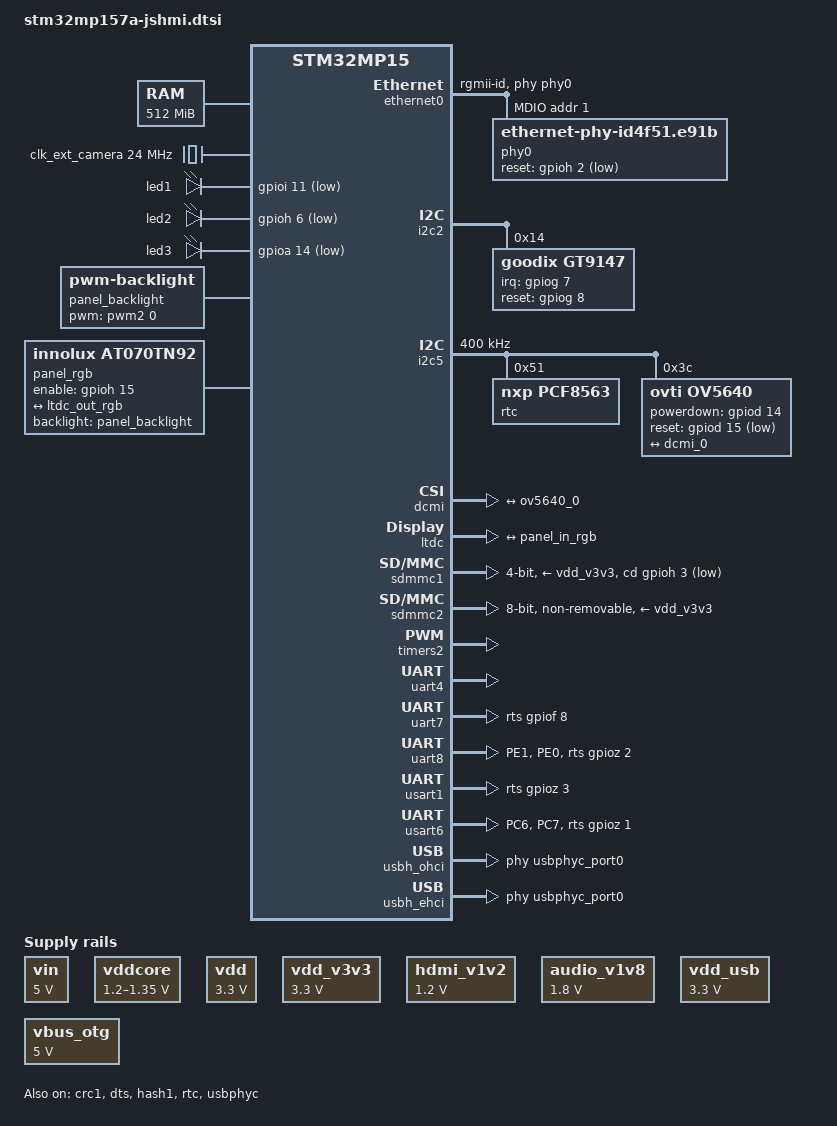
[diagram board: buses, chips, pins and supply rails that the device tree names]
// SPDX-License-Identifier: (GPL-2.0+ OR BSD-3-Clause)
/*
 * Copyright (C) STMicroelectronics 2019 - All Rights Reserved
 * Author: Alexandre Torgue <alexandre.torgue@st.com> for STMicroelectronics.
 */

#include "stm32mp15-m4-srm.dtsi"
#include "stm32mp15-m4-srm-pinctrl.dtsi"
#include <dt-bindings/gpio/gpio.h>

/ {
	aliases {
		ethernet0 = &ethernet0;
		serial0 = &uart4;
		serial3 = &usart1;
		serial1 = &usart2;
		serial2 = &usart3;
		serial5 = &usart6;
		serial6 = &uart7;
		serial7 = &uart8;
	};

	memory@c0000000 {
		device_type = "memory";
		reg = <0xc0000000 0x20000000>;
	};

	clocks {
		clk_ext_camera: clk-ext-camera {
			#clock-cells = <0>;
			compatible = "fixed-clock";
			clock-frequency = <24000000>;
		};
	};

	reserved-memory {
		#address-cells = <1>;
		#size-cells = <1>;
		ranges;

		mcuram2: mcuram2@10000000 {
			compatible = "shared-dma-pool";
			reg = <0x10000000 0x40000>;
			no-map;
		};

		vdev0vring0: vdev0vring0@10040000 {
			compatible = "shared-dma-pool";
			reg = <0x10040000 0x1000>;
			no-map;
		};

		vdev0vring1: vdev0vring1@10041000 {
			compatible = "shared-dma-pool";
			reg = <0x10041000 0x1000>;
			no-map;
		};

		vdev0buffer: vdev0buffer@10042000 {
			compatible = "shared-dma-pool";
			reg = <0x10042000 0x4000>;
			no-map;
		};

		mcu_rsc_table: mcu_rsc_table@10048000 {
			compatible = "shared-dma-pool";
			reg = <0x10048000 0x8000>;
			no-map;
		};

		mcuram: mcuram@30000000 {
			compatible = "shared-dma-pool";
			reg = <0x30000000 0x40000>;
			no-map;
		};

		retram: retram@38000000 {
			compatible = "shared-dma-pool";
			reg = <0x38000000 0x10000>;
			no-map;
		};

		gpu_reserved: gpu@d4000000 {
			reg = <0xd4000000 0x4000000>;
			no-map;
		};

		optee@de000000 {
			reg = <0xde000000 0x2000000>;
			no-map;
		};
	};

	led {
		compatible = "gpio-leds";

		led1 {
			label = "led1";
			gpios = <&gpioi 11 GPIO_ACTIVE_LOW>;
			linux,default-trigger = "heartbeat";
			default-state = "on";
		};

		led2 {
			label = "led2";
			gpios = <&gpioh 6 GPIO_ACTIVE_LOW>;
			linux,default-trigger = "heartbeat";
			default-state = "on";
		};

		led3 {
			label = "led3";
			gpios = <&gpioa 14 GPIO_ACTIVE_LOW>;
			linux,default-trigger = "heartbeat";
			default-state = "on";
		};
	};

	vin: vin {
		compatible = "regulator-fixed";
		regulator-name = "vin";
		regulator-min-microvolt = <5000000>;
		regulator-max-microvolt = <5000000>;
		regulator-always-on;
	};

	vddcore: regulator-vddcore {
		compatible = "regulator-fixed";
		regulator-name = "vddcore";
		regulator-min-microvolt = <1200000>;
		regulator-max-microvolt = <1350000>;
		regulator-always-on;
	};

	vdd: regulator-vdd {
		compatible = "regulator-fixed";
		regulator-name = "vdd";
		regulator-min-microvolt = <3300000>;
		regulator-max-microvolt = <3300000>;
		regulator-always-on;
		regulator-boot-on;
	};

	vdd_v3v3: regulator-vdd-v3v3 {
		compatible = "regulator-fixed";
		regulator-name = "vdd_v3v3";
		regulator-min-microvolt = <3300000>;
		regulator-max-microvolt = <3300000>;
		regulator-always-on;
		regulator-boot-on;
	};

	hdmi_v1v2: regulator-hdmi-v1v2 {
		compatible = "regulator-fixed";
		regulator-name = "hdmi_v1v2";
		regulator-min-microvolt = <1200000>;
		regulator-max-microvolt = <1200000>;
		regulator-always-on;
		regulator-boot-on;
	};

	audio_v1v8: regulator-audio-v1v8 {
		compatible = "regulator-fixed";
		regulator-name = "audio_v1v8";
		regulator-min-microvolt = <1800000>;
		regulator-max-microvolt = <1800000>;
		regulator-always-on;
		regulator-boot-on;
	};

	vdd_usb: regulator-vdd-usb {
		compatible = "regulator-fixed";
		regulator-name = "vdd_usb";
		regulator-min-microvolt = <3300000>;
		regulator-max-microvolt = <3300000>;
		regulator-always-on;
		regulator-boot-on;
	};

	vbus_otg: regulator-vbus-otg {
		compatible = "regulator-fixed";
		regulator-name = "vbus_otg";
		regulator-min-microvolt = <5000000>;
		regulator-max-microvolt = <5000000>;
		regulator-always-on;
		regulator-boot-on;
	};

	usb_phy_tuning: usb-phy-tuning {
		st,hs-dc-level = <2>;
		st,fs-rftime-tuning;
		st,hs-rftime-reduction;
		st,hs-current-trim = <15>;
		st,hs-impedance-trim = <1>;
		st,squelch-level = <3>;
		st,hs-rx-offset = <2>;
		st,no-lsfs-sc;
	};

	panel_backlight: panel-backlight {
		compatible = "pwm-backlight";
		pwms = <&pwm2 0 5000000>;
		brightness-levels = <0 4 8 16 32 64 128 255>;
		default-brightness-level = <6>;
		status = "okay";
	};

	panel_rgb: panel-rgb {
		compatible = "innolux,at070tn92";
		//compatible = "innolux,zj070na-01p";
		//compatible = "innolux,at043tn24";
		enable-gpios = <&gpioh 15 GPIO_ACTIVE_HIGH>;
		
		backlight = <&panel_backlight>;
		status = "okay";

		port {
			panel_in_rgb: endpoint {
				remote-endpoint = <&ltdc_out_rgb>;
			};
		};
	};

};

&pinctrl {
	pwm2_pins_b: pwm2-0 {
		pins {
			pinmux = <STM32_PINMUX('A', 5, AF1)>; /* TIM2_CH1 */
			bias-pull-down;
			drive-push-pull;
			slew-rate = <0>;
		};
	};

	pwm2_sleep_pins_b: pwm2-sleep-0 {
		pins {
			pinmux = <STM32_PINMUX('A', 5, ANALOG)>; /* TIM2_CH1 */
		};
	};

	usart6_pins_a: usart6-1 {
		pins1 {
			pinmux = <STM32_PINMUX('C', 6, AF7)>; /* USART6_TX */
			bias-disable;
			drive-push-pull;
			slew-rate = <0>;
		};
		pins2 {
			pinmux = <STM32_PINMUX('C', 7, AF7)>; /* USART6_RX */
			bias-disable;
		};
	};

	usart6_idle_pins_a: usart6-idle-1 {
		pins1 {
			pinmux = <STM32_PINMUX('C', 6, ANALOG)>; /* USART6_TX */
		};
		pins2 {
			pinmux = <STM32_PINMUX('C', 7, AF7)>; /* USART6_RX */
			bias-pull-up;
		};
	};

	usart6_sleep_pins_a: usart6-sleep-1 {
		pins {
			pinmux = <STM32_PINMUX('C', 6, ANALOG)>, /* USART6_TX */
				 <STM32_PINMUX('C', 7, ANALOG)>; /* USART6_RX */
		};
	};

	uart8_pins_a: uart8-0 {
		pins1 {
			pinmux = <STM32_PINMUX('E', 1, AF8)>; /* UART8_TX */
			bias-disable;
			drive-push-pull;
			slew-rate = <0>;
		};
		pins2 {
			pinmux = <STM32_PINMUX('E', 0, AF8)>; /* UART8_RX */
			bias-disable;
		};
	};

	uart8_idle_pins_a: uart8-idle-0 {
		pins1 {
			pinmux = <STM32_PINMUX('E', 1, ANALOG)>; /* UART8_TX */
		};
		pins2 {
			pinmux = <STM32_PINMUX('E', 0, AF8)>; /* UART8_RX */
			bias-pull-up;
		};
	};

	uart8_sleep_pins_a: uart8-sleep-0 {
		pins {
			pinmux = <STM32_PINMUX('E', 1, ANALOG)>, /* UART8_TX */
				 <STM32_PINMUX('E', 0, ANALOG)>; /* UART8_RX */
		};
	};

	gt9147_irq:gt9147_irq {
		pins {
			pinmux = <STM32_PINMUX('G', 7, GPIO)>; /* PG7.GPIO */
			bias-pull-down;
			drive-push-pull;
		};
	};
};

&pinctrl_z {
	usart1_pins_a: usart1-1 {
		pins1 {
			pinmux = <STM32_PINMUX('Z', 7, AF7)>; /* USART2_TX */
			bias-disable;
			drive-push-pull;
			slew-rate = <0>;
		};
		pins2 {
			pinmux = <STM32_PINMUX('Z', 6, AF7)>; /* USART2_RX */
			bias-disable;
		};
	};

	usart1_idle_pins_a: usart1-idle-1 {
		pins1 {
			pinmux = <STM32_PINMUX('Z', 7, ANALOG)>; /* USART2_TX */
		};
		pins2 {
			pinmux = <STM32_PINMUX('Z', 6, AF7)>; /* USART2_RX */
			bias-disable;
		};
	};

	usart1_sleep_pins_a: usart1-sleep-1 {
		pins {
			pinmux = <STM32_PINMUX('Z', 7, ANALOG)>, /* USART2_TX */
				 <STM32_PINMUX('Z', 6, ANALOG)>; /* USART2_RX */
		};
	};
};

&cpu0{
	cpu-supply = <&vddcore>;
};

&cpu1{
	cpu-supply = <&vddcore>;
};

&crc1 {
	status = "okay";
};

&dma1 {
	sram = <&dma_pool>;
};

&dma2 {
	sram = <&dma_pool>;
};

&dts {
	status = "okay";
};

&ethernet0 {
	status = "okay";
	pinctrl-0 = <&ethernet0_rgmii_pins_a>;
	pinctrl-1 = <&ethernet0_rgmii_sleep_pins_a>;
	pinctrl-names = "default", "sleep";
	phy-mode = "rgmii-id";
	max-speed = <1000>;
	phy-handle = <&phy0>;
	/*nvmem-cells = <&ethernet_mac_address>;
	nvmem-cell-names = "mac-address";*/

	mdio0 {
		#address-cells = <1>;
		#size-cells = <0>;
		compatible = "snps,dwmac-mdio";
		phy0: ethernet-phy@1 {
			compatible = "ethernet-phy-id4f51.e91b";
			//compatible = "ethernet-phy-id4f51.e91b", "ethernet-phy-ieee802.3-c22";
			//compatible = "ethernet-phy-ieee802.3-c22";
			reg = <1>;
			reset-gpios = <&gpioh 2 GPIO_ACTIVE_LOW>;
			reset-assert-us = <20000>;
			reset-deassert-us = <50000>;
		};
	};
};

&gpu {
	contiguous-area = <&gpu_reserved>;
};

&hash1 {
	status = "okay";
};

&i2c2 {
	pinctrl-names = "default", "sleep";
	pinctrl-0 = <&i2c2_pins_a>;
	pinctrl-1 = <&i2c2_sleep_pins_a>;
	i2c-scl-rising-time-ns = <100>;
	i2c-scl-falling-time-ns = <7>;
	status = "okay";
	/delete-property/dmas;
	/delete-property/dma-names;

	gt9147@14 {
		compatible = "goodix,gt9147";
		reg = <0x14>;
		/*pinctrl-names = "default";
		pinctrl-0 = <&gt9147_irq>;*/
		irq-gpios = <&gpiog 7 GPIO_ACTIVE_HIGH>;
		reset-gpios = <&gpiog 8 GPIO_ACTIVE_HIGH>;
		status = "okay";
	};
};

&i2c4 {
	pinctrl-names = "default", "sleep";
	pinctrl-0 = <&i2c4_pins_a>;
	pinctrl-1 = <&i2c4_sleep_pins_a>;
	i2c-scl-rising-time-ns = <185>;
	i2c-scl-falling-time-ns = <20>;
	clock-frequency = <400000>;
	status = "disabled";
	/* spare dmas for other usage */
	/delete-property/dmas;
	/delete-property/dma-names;
};

&i2c5 {
	pinctrl-names = "default", "sleep";
	pinctrl-0 = <&i2c5_pins_a>;
	pinctrl-1 = <&i2c5_sleep_pins_a>;
	i2c-scl-rising-time-ns = <185>;
	i2c-scl-falling-time-ns = <20>;
	clock-frequency = <400000>;
	/* spare dmas for other usage */
	/delete-property/dmas;
	/delete-property/dma-names;
	status = "okay";

	rtc@51 {
		compatible = "nxp,pcf8563";
		reg = <0x51>;
	};

	ov5640: camera@3c {
		compatible = "ovti,ov5640";
		reg = <0x3c>;
		clocks = <&clk_ext_camera>;
		clock-names = "xclk";
		//DOVDD-supply = <&v2v8>;
		powerdown-gpios = <&gpiod 14 (GPIO_ACTIVE_HIGH | GPIO_PUSH_PULL)>;
		reset-gpios = <&gpiod 15 (GPIO_ACTIVE_LOW | GPIO_PUSH_PULL)>;
		rotation = <180>;
		status = "okay";

		port {
			ov5640_0: endpoint {
				remote-endpoint = <&dcmi_0>;
				bus-width = <8>;
				data-shift = <2>; /* lines 9:2 are used */
				hsync-active = <0>;
				vsync-active = <0>;
				pclk-sample = <1>;
				pclk-max-frequency = <77000000>;
			};
		};
	};

};

&ipcc {
	status = "okay";
};

&iwdg2 {
	timeout-sec = <32>;
	status = "disabled";
};

&dcmi {
	status = "okay";
	pinctrl-names = "default", "sleep";
	pinctrl-0 = <&dcmi_pins_a>;
	pinctrl-1 = <&dcmi_sleep_pins_a>;

	port {
		dcmi_0: endpoint {
			remote-endpoint = <&ov5640_0>;
			bus-type = <5>;
			bus-width = <8>;
			hsync-active = <0>;
			vsync-active = <0>;
			pclk-sample = <1>;
			pclk-max-frequency = <77000000>;
		};
	};
};

&ltdc {
	pinctrl-names = "default", "sleep";
	pinctrl-0 = <&ltdc_pins_b>;
	pinctrl-1 = <&ltdc_sleep_pins_b>;
	status = "okay";

	port {
		#address-cells = <1>;
		#size-cells = <0>;

		ltdc_out_rgb: endpoint@0 {
			reg = <0>;
			remote-endpoint = <&panel_in_rgb>;
		};
	};
};

&m4_rproc {
	memory-region = <&retram>, <&mcuram>, <&mcuram2>, <&vdev0vring0>,
			<&vdev0vring1>, <&vdev0buffer>, <&mcu_rsc_table>;
	mboxes = <&ipcc 0>, <&ipcc 1>, <&ipcc 2>, <&ipcc 3>;
	mbox-names = "vq0", "vq1", "shutdown", "detach";
	interrupt-parent = <&exti>;
	interrupts = <68 1>;
	wakeup-source;
	status = "disabled";
};

&pwr_regulators {
	vdd-supply = <&vdd>;
	vdd_3v3_usbfs-supply = <&vdd_usb>;
};

&rtc {
	status = "okay";
};

&sdmmc1 {
	pinctrl-names = "default", "opendrain", "sleep";
	pinctrl-0 = <&sdmmc1_b4_pins_a>;
	pinctrl-1 = <&sdmmc1_b4_od_pins_a>;
	pinctrl-2 = <&sdmmc1_b4_sleep_pins_a>;
	cd-gpios = <&gpioh 3 (GPIO_ACTIVE_LOW | GPIO_PULL_UP)>;
	disable-wp;
	st,neg-edge;
	bus-width = <4>;
	vmmc-supply = <&vdd_v3v3>;
	status = "okay";
};

&sdmmc2 {
	pinctrl-names = "default", "opendrain", "sleep";
	pinctrl-0 = <&sdmmc2_b4_pins_a &sdmmc2_d47_pins_a>;
	pinctrl-1 = <&sdmmc2_b4_od_pins_a &sdmmc2_d47_pins_a>;
	pinctrl-2 = <&sdmmc2_b4_sleep_pins_a &sdmmc2_d47_sleep_pins_a>;
	broken-cd;
	non-removable;
	st,neg-edge;
	bus-width = <8>;
	vmmc-supply = <&vdd_v3v3>;
	status = "okay";
};

&spi4 {
	pinctrl-names = "default", "sleep";
	pinctrl-0 = <&spi4_pins_b>;
	pinctrl-1 = <&spi4_sleep_pins_b>;
	status = "disabled";
};

&spi5 {
	pinctrl-names = "default", "sleep";
	pinctrl-0 = <&spi5_pins_a>;
	pinctrl-1 = <&spi5_sleep_pins_a>;
	status = "disabled";
};

&sram {
	dma_pool: dma_pool@0 {
		reg = <0x50000 0x10000>;
		pool;
	};
};

&timers2 {
	status = "okay";
	/* spare dmas for other usage */
	/delete-property/dmas;
	/delete-property/dma-names;
	pwm2: pwm {
		pinctrl-0 = <&pwm2_pins_b>;
		pinctrl-1 = <&pwm2_sleep_pins_b>;
		pinctrl-names = "default", "sleep";
		#pwm-cells = <2>;
		status = "okay";
	};
	timer@1 {
		status = "disabled";
	};
};

&uart4 {
	pinctrl-names = "default", "sleep", "idle";
	pinctrl-0 = <&uart4_pins_a>;
	pinctrl-1 = <&uart4_sleep_pins_a>;
	pinctrl-2 = <&uart4_idle_pins_a>;
	/delete-property/dmas;
	/delete-property/dma-names;
	status = "okay";
};

&uart7 {
	pinctrl-names = "default", "sleep", "idle";
	pinctrl-0 = <&uart7_pins_b>;
	pinctrl-1 = <&uart7_sleep_pins_b>;
	pinctrl-2 = <&uart7_idle_pins_b>;
	/delete-property/dmas;
	/delete-property/dma-names;
	/delete-property/st,hw-flow-ctrl;
	rts-gpios = <&gpiof 8 GPIO_ACTIVE_HIGH>;
	linux,rs485-enabled-at-boot-time;
	status = "okay";
};

&uart8 {
	pinctrl-names = "default", "sleep", "idle";
	pinctrl-0 = <&uart8_pins_a>;
	pinctrl-1 = <&uart8_sleep_pins_a>;
	pinctrl-2 = <&uart8_idle_pins_a>;
	/delete-property/dmas;
	/delete-property/dma-names;
	rts-gpios = <&gpioz 2 GPIO_ACTIVE_HIGH>;
	linux,rs485-enabled-at-boot-time;
	status = "okay";
};

&usart1 {
	pinctrl-names = "default", "sleep", "idle";
	pinctrl-0 = <&usart1_pins_a>;
	pinctrl-1 = <&usart1_sleep_pins_a>;
	pinctrl-2 = <&usart1_idle_pins_a>;
	/delete-property/dmas;
	/delete-property/dma-names;
	rts-gpios = <&gpioz 3 GPIO_ACTIVE_HIGH>;
	linux,rs485-enabled-at-boot-time;
	status = "okay";
};

&usart2 {
	pinctrl-names = "default", "sleep", "idle";
	pinctrl-0 = <&usart2_pins_c>;
	pinctrl-1 = <&usart2_sleep_pins_c>;
	pinctrl-2 = <&usart2_idle_pins_c>;
	/delete-property/dmas;
	/delete-property/dma-names;
	rts-gpios = <&gpioz 4 GPIO_ACTIVE_HIGH>;
	linux,rs485-enabled-at-boot-time;
	status = "disabled";
};

&usart3 {
	pinctrl-names = "default", "sleep", "idle";
	pinctrl-0 = <&usart3_pins_c>;
	pinctrl-1 = <&usart3_sleep_pins_c>;
	pinctrl-2 = <&usart3_idle_pins_c>;
	/delete-property/dmas;
	/delete-property/dma-names;
	rts-gpios = <&gpioz 5 GPIO_ACTIVE_HIGH>;
	linux,rs485-enabled-at-boot-time;
	status = "disabled";
};

&usart6 {
	pinctrl-names = "default", "sleep", "idle";
	pinctrl-0 = <&usart6_pins_a>;
	pinctrl-1 = <&usart6_sleep_pins_a>;
	pinctrl-2 = <&usart6_idle_pins_a>;
	/delete-property/dmas;
	/delete-property/dma-names;
	rts-gpios = <&gpioz 1 GPIO_ACTIVE_HIGH>;
	linux,rs485-enabled-at-boot-time;
	status = "okay";
};

&usbh_ohci {
	phys = <&usbphyc_port0>, <&usbphyc_port1 1>;
	phy-names = "usb", "usb";
	status = "okay";
};

&usbh_ehci {
	phys = <&usbphyc_port0>, <&usbphyc_port1 1>;
	phy-names = "usb", "usb";
	status = "okay";
};

&usbotg_hs {
	status = "disabled";
};

&usbphyc {
	status = "okay";
};

&usbphyc_port0 {
	phy-supply = <&vdd_usb>;
	/*
	st,tune-hs-dc-level = <2>;
	st,enable-fs-rftime-tuning;
	st,enable-hs-rftime-reduction;
	st,trim-hs-current = <15>;
	st,trim-hs-impedance = <1>;
	st,tune-squelch-level = <3>;
	st,tune-hs-rx-offset = <2>;
	st,no-lsfs-sc;
*/
	/*
	 * Hack to keep hub active until all connected devices are suspended
	 * otherwise the hub will be powered off as soon as the v3v3 is disabled
	 * and it can disturb connected devices.
	 */
	 /*
	connector {
		compatible = "usb-a-connector";
		vbus-supply = <&vdd_v3v3>;
	};
	*/
};

&usbphyc_port1 {
	phy-supply = <&vdd_usb>;
	/*
	st,tune-hs-dc-level = <2>;
	st,enable-fs-rftime-tuning;
	st,enable-hs-rftime-reduction;
	st,trim-hs-current = <15>;
	st,trim-hs-impedance = <1>;
	st,tune-squelch-level = <3>;
	st,tune-hs-rx-offset = <2>;
	st,no-lsfs-sc;
	*/
};

&vrefbuf {
	regulator-min-microvolt = <2500000>;
	regulator-max-microvolt = <2500000>;
	vdda-supply = <&vdd>;
	status = "disabled";
};
